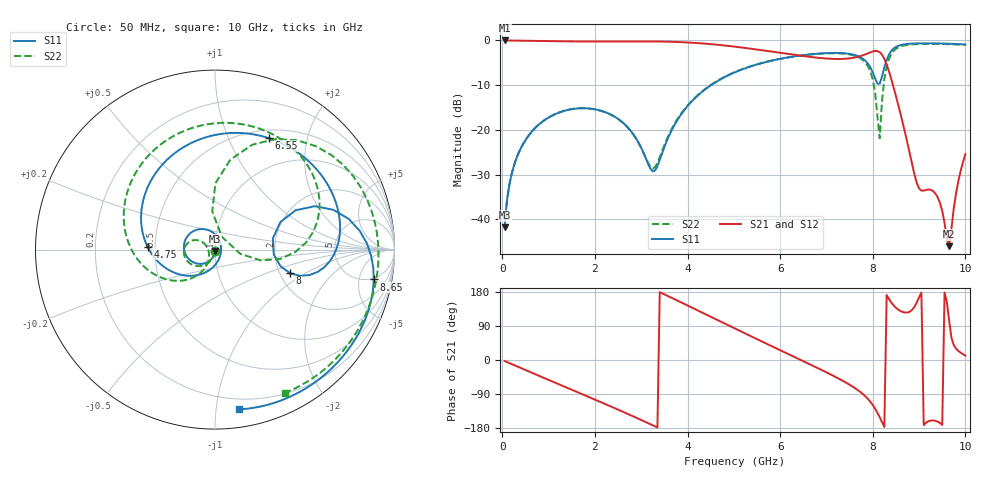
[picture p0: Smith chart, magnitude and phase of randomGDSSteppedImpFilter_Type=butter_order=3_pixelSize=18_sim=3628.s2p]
! freq	dB(S11)	phase(S11)	dB(S12)	phase(S12)
!  dB(S21)	phase(S21)	dB(S22)	phase(S22)
!S-par simulation data
#  GHz  S  DB  R 50
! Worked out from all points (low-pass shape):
!   200 points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, 50 MHz to 10 GHz, reference 50 ohm
!   highest |S21| = -0.01 dB at 50 MHz (marker M1); lowest = -46.0 dB at 9.65 GHz (marker M2)
!   |S21| within 3 dB of the highest: start of sweep to 6.156 GHz; 7.866 GHz to 8.183 GHz (316.8 MHz wide, 3.95 % of centre)
!   lowest |S11| = -41.8 dB at 50 MHz (marker M3), VSWR 1.02, Z = 50 - j0.812 ohm
!   |S11| at or under -10 dB: start of sweep to 4.509 GHz
!   |S22| runs from -41.8 to -0.8 dB; largest |S21 - S12| = 0
!   S11 on the Smith chart (normalised r, x): 50 MHz: 1.00, -0.02; 4.75 GHz: 0.45, +0.02; 6.55 GHz: 0.60, +1.42; 8 GHz: 2.27, -0.74; 8.65 GHz: 4.65, -8.12; 10 GHz: 0.12, -1.16
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0.05  -41.81 -91.4  -0.01 -2.7  -0.01 -2.7  -41.81 -91.3
0.2  -29.96 -101.4  -0.02 -10.6  -0.02 -10.6  -29.95 -99.5
0.5  -22.31 -119.2  -0.06 -26.4  -0.06 -26.4  -22.29 -114.5
1.75  -15.16 168.2  -0.24 -91.4  -0.24 -91.4  -15.16 -172.6
2.5  -17.55 120.1  -0.23 -131.0  -0.23 -131.0  -17.59 156.9
3.2  -28.72 23.4  -0.22 -169.6  -0.22 -169.6  -28.29 179.6
3.4  -26.74 -52.3  -0.24 179.0  -0.24 179.0  -26.08 -132.0
4.75  -8.49 177.5  -1.08 99.3  -1.08 99.3  -8.40 -161.0
5.05  -7.01 157.4  -1.43 81.5  -1.43 81.5  -6.94 -176.3
5.8  -4.56 109.3  -2.47 37.5  -2.47 37.5  -4.55 144.1
6.55  -3.22 64.3  -3.56 -6.1  -3.56 -6.1  -3.26 102.5
6.7  -3.06 55.6  -3.75 -14.8  -3.75 -14.8  -3.11 93.8
7.6  -3.23 3.5  -3.85 -72.9  -3.85 -72.9  -3.38 34.3
8  -7.15 -17.5  -2.46 -118.9  -2.46 -118.9  -8.72 -8.2
8.15  -9.66 11.0  -2.63 -151.1  -2.63 -151.1  -21.89 60.9
8.25  -6.01 26.0  -4.12 -176.6  -4.12 -176.6  -8.66 89.7
8.35  -3.15 18.6  -6.93 160.8  -6.93 160.8  -4.16 70.5
8.65  -0.92 -10.6  -18.57 126.5  -18.57 126.5  -1.19 27.9
8.95  -0.67 -29.9  -31.90 151.8  -31.90 151.8  -0.83 2.5
9.4  -0.67 -52.6  -35.07 -162.5  -35.07 -162.5  -0.79 -27.1
9.65  -0.73 -64.4  -46.02 102.8  -46.02 102.8  -0.84 -42.3
10  -0.91 -81.3  -25.43 11.4  -25.43 11.4  -1.03 -63.9
